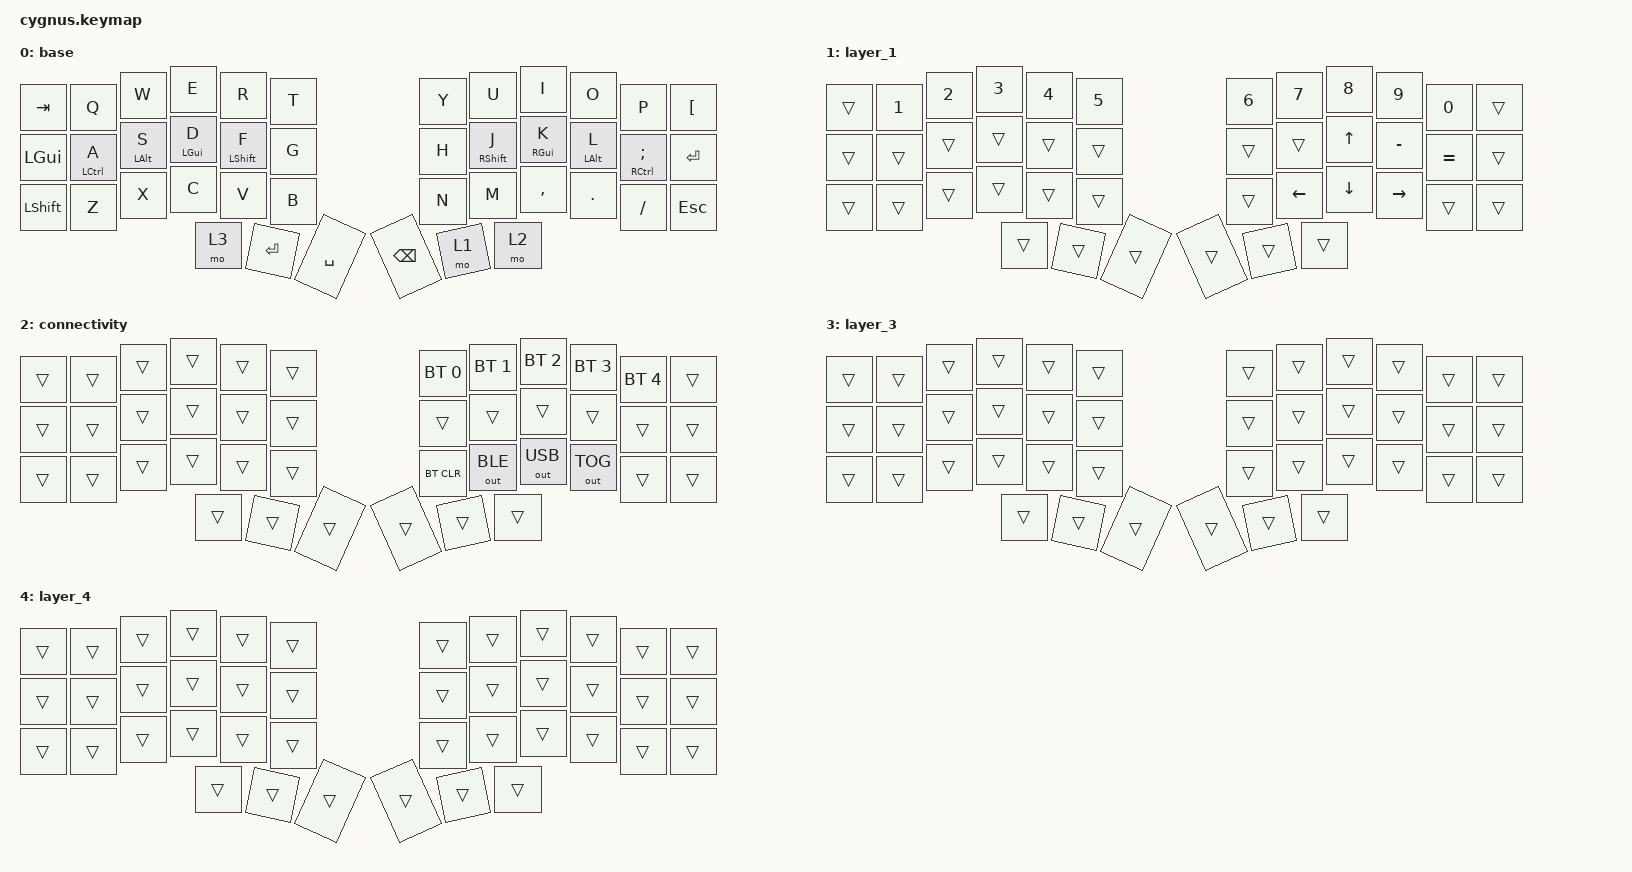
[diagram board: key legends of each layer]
/*
 * Copyright (c) 2020 The ZMK Contributors
 *
 * SPDX-License-Identifier: MIT
 */

#include <behaviors.dtsi>
#include <dt-bindings/zmk/bt.h>
#include <dt-bindings/zmk/keys.h>
#include <dt-bindings/zmk/outputs.h>

/ {
    combos { compatible = "zmk,combos"; };

    behaviors {
        hm: homerow_mods {
            compatible = "zmk,behavior-hold-tap";
            label = "HOMEROW_MODS";
            bindings = <&kp>, <&kp>;

            #binding-cells = <2>;
            tapping-term-ms = <200>;
            quick-tap-ms = <180>;
            require-prior-idle-ms = <0>;
            flavor = "tap-preferred";
        };
    };

    keymap {
        compatible = "zmk,keymap";

        base {
            bindings = <
&kp TAB         &kp Q               &kp W           &kp E       &kp R             &kp T      &kp Y          &kp U              &kp I            &kp O           &kp P                &kp LEFT_BRACKET
&kp LEFT_GUI    &hm LEFT_CONTROL A  &hm LEFT_ALT S  &hm LGUI D  &hm LEFT_SHIFT F  &kp G      &kp H          &hm RIGHT_SHIFT J  &hm RIGHT_GUI K  &hm LEFT_ALT L  &hm RCTRL SEMICOLON  &kp ENTER
&kp LEFT_SHIFT  &kp Z               &kp X           &kp C       &kp V             &kp B      &kp N          &kp M              &kp COMMA        &kp PERIOD      &kp SLASH            &kp ESC
                                                    &mo 3       &kp ENTER         &kp SPACE  &kp BACKSPACE  &mo 1              &mo 2
            >;
        };

        layer_1 {
            bindings = <
&trans  &kp N1  &kp N2  &kp N3  &kp N4  &kp N5  &kp N6  &kp N7    &kp N8    &kp N9     &kp N0     &trans
&trans  &trans  &trans  &trans  &trans  &trans  &trans  &trans    &kp UP    &kp MINUS  &kp EQUAL  &trans
&trans  &trans  &trans  &trans  &trans  &trans  &trans  &kp LEFT  &kp DOWN  &kp RIGHT  &trans     &trans
                        &trans  &trans  &trans  &trans  &trans    &trans
            >;
        };

        connectivity {
            bindings = <
&trans  &trans  &trans  &trans  &trans  &trans  &bt BT_SEL 0  &bt BT_SEL 1  &bt BT_SEL 2  &bt BT_SEL 3  &bt BT_SEL 4  &trans
&trans  &trans  &trans  &trans  &trans  &trans  &trans        &trans        &trans        &trans        &trans        &trans
&trans  &trans  &trans  &trans  &trans  &trans  &bt BT_CLR    &out OUT_BLE  &out OUT_USB  &out OUT_TOG  &trans        &trans
                        &trans  &trans  &trans  &trans        &trans        &trans
            >;
        };

        layer_3 {
            bindings = <
&trans  &trans  &trans  &trans  &trans  &trans  &trans  &trans  &trans  &trans  &trans  &trans
&trans  &trans  &trans  &trans  &trans  &trans  &trans  &trans  &trans  &trans  &trans  &trans
&trans  &trans  &trans  &trans  &trans  &trans  &trans  &trans  &trans  &trans  &trans  &trans
                        &trans  &trans  &trans  &trans  &trans  &trans
            >;
        };

        layer_4 {
            bindings = <
&trans  &trans  &trans  &trans  &trans  &trans  &trans  &trans  &trans  &trans  &trans  &trans
&trans  &trans  &trans  &trans  &trans  &trans  &trans  &trans  &trans  &trans  &trans  &trans
&trans  &trans  &trans  &trans  &trans  &trans  &trans  &trans  &trans  &trans  &trans  &trans
                        &trans  &trans  &trans  &trans  &trans  &trans
            >;
        };
    };
};
